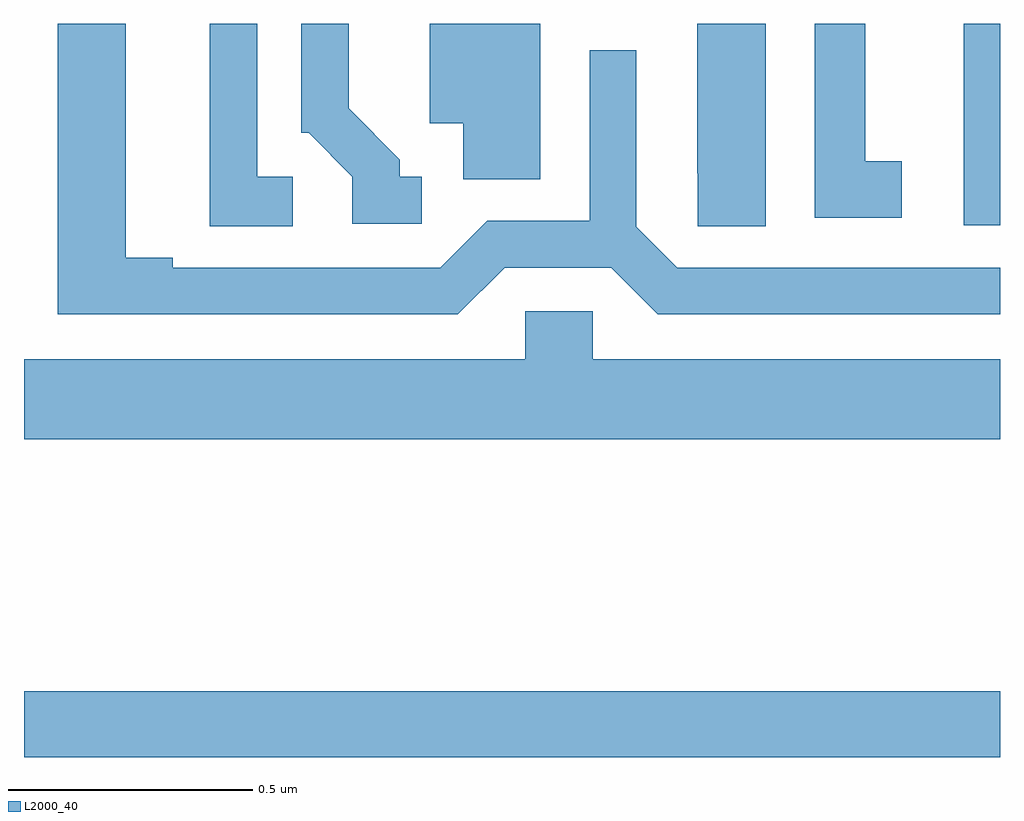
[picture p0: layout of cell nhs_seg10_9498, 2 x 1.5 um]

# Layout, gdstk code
import gdstk
lib = gdstk.Library(unit=1e-6, precision=1e-09)
def R(c, l, rs):  # rectangles x0, y0, x1, y1
    for r in rs: c.add(gdstk.rectangle(r[:2], r[2:], *l))
def P(c, l, *ps):  # polygons
    for p in ps: c.add(gdstk.Polygon(p, *l))
L2000_40 = (2000, 40)

nhs_seg10_9498 = lib.new_cell('nhs_seg10_9498')
R(nhs_seg10_9498, L2000_40, [(230,1300.996,232,1301.132), (231.926,1302.087,232,1302.5)])
P(nhs_seg10_9498, L2000_40, [(230.815,1302.186),(230.77,1302.186),(230.77,1302.221),(230.665,1302.326),(230.665,1302.5),(230.568,1302.5),(230.568,1302.276),(230.583,1302.276),(230.673,1302.186),(230.673,1302.09),(230.815,1302.09)],
  [(231.799,1302.218),(231.724,1302.218),(231.724,1302.5),(231.62,1302.5),(231.62,1302.102),(231.799,1302.102)],
  [(230.985,1302),(231.203,1302),(231.299,1301.904),(232,1301.904),(232,1302),(231.339,1302),(231.255,1302.084),(231.255,1302.445),(231.159,1302.445),(231.159,1302.096),(230.949,1302.096),(230.853,1302),(230.305,1302),(230.305,1302.02),(230.209,1302.02),(230.209,1302.5),(230.069,1302.5),(230.069,1301.904),(230.889,1301.904)],
  [(231.058,1302.5),(230.831,1302.5),(230.831,1302.296),(230.9,1302.296),(230.9,1302.181),(231.058,1302.181)],
  [(231.52,1302.5),(231.38,1302.5),(231.38,1302.193),(231.381,1302.193),(231.381,1302.085),(231.52,1302.085)],
  [(230.551,1302.186),(230.478,1302.186),(230.478,1302.5),(230.381,1302.5),(230.381,1302.085),(230.551,1302.085)],
  [(232,1301.812),(231.165,1301.812),(231.165,1301.91),(231.027,1301.91),(231.027,1301.812),(230,1301.812),(230,1301.648),(232,1301.648)])

lib.write_gds('nhs_seg10_9498.gds')
